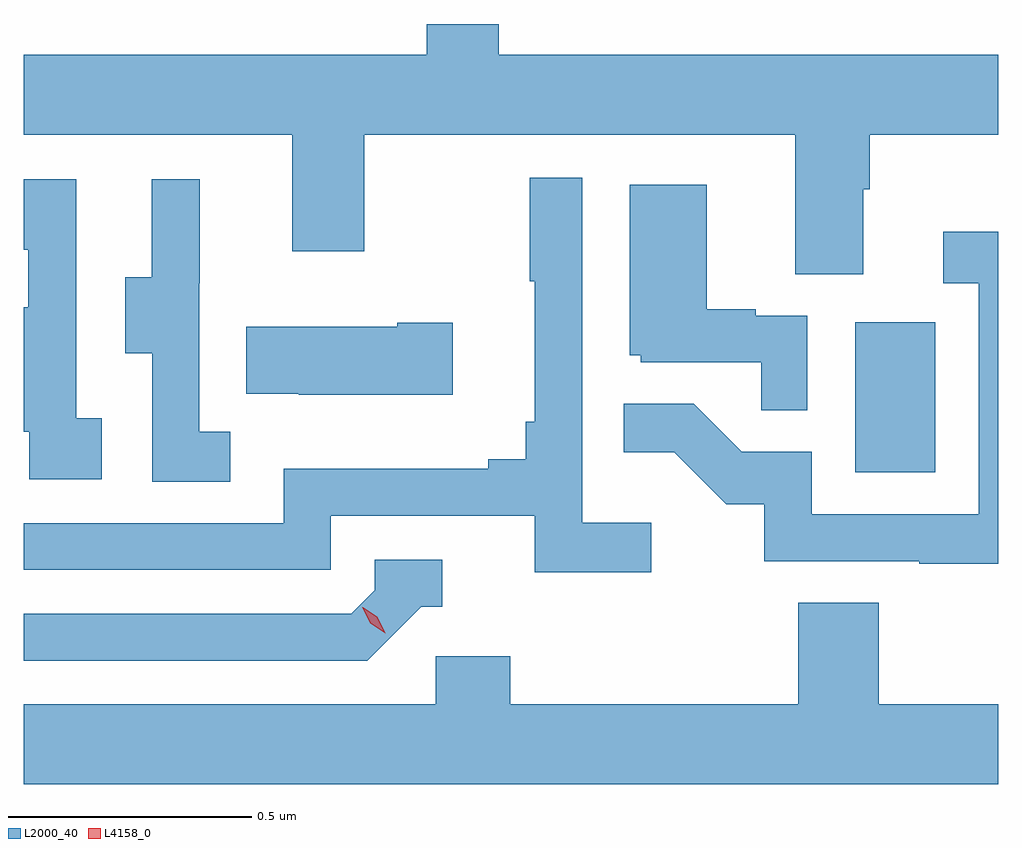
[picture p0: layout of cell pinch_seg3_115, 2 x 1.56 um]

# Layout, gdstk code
import gdstk
lib = gdstk.Library(unit=1e-6, precision=1e-09)
def R(c, l, rs):  # rectangles x0, y0, x1, y1
    for r in rs: c.add(gdstk.rectangle(r[:2], r[2:], *l))
def P(c, l, *ps):  # polygons
    for p in ps: c.add(gdstk.Polygon(p, *l))
L2000_40 = (2000, 40)
L4158_0 = (4158, 0)

pinch_seg3_115 = lib.new_cell('pinch_seg3_115')
R(pinch_seg3_115, L2000_40, [(1050.92,714.876,1051.084,715.183)])
P(pinch_seg3_115, L2000_40, [(1050.937,715.456),(1050.95,715.456),(1050.95,715.568),(1051.214,715.568),(1051.214,715.732),(1050.189,715.732),(1050.189,715.795),(1050.041,715.795),(1050.041,715.732),(1049.214,715.732),(1049.214,715.568),(1049.765,715.568),(1049.765,715.329),(1049.913,715.329),(1049.913,715.568),(1050.797,715.568),(1050.797,715.282),(1050.937,715.282)],
  [(1050.502,714.772),(1050.36,714.772),(1050.36,715.48),(1050.252,715.48),(1050.252,715.267),(1050.263,715.267),(1050.263,714.979),(1050.244,714.979),(1050.244,714.902),(1050.167,714.902),(1050.167,714.883),(1049.748,714.883),(1049.748,714.771),(1049.214,714.771),(1049.214,714.675),(1049.844,714.675),(1049.844,714.786),(1050.263,714.786),(1050.263,714.67),(1050.502,714.67)],
  [(1049.374,714.986),(1049.322,714.986),(1049.322,715.477),(1049.214,715.477),(1049.214,715.332),(1049.224,715.332),(1049.224,715.214),(1049.214,715.214),(1049.214,714.959),(1049.226,714.959),(1049.226,714.861),(1049.374,714.861)],
  [(1049.638,714.959),(1049.574,714.959),(1049.574,715.263),(1049.576,715.263),(1049.576,715.477),(1049.477,715.477),(1049.477,715.275),(1049.423,715.275),(1049.423,715.12),(1049.478,715.12),(1049.478,714.856),(1049.638,714.856)],
  [(1050.822,715.197),(1050.716,715.197),(1050.716,715.21),(1050.616,715.21),(1050.616,715.465),(1050.458,715.465),(1050.458,715.116),(1050.48,715.116),(1050.48,715.101),(1050.727,715.101),(1050.727,715.003),(1050.822,715.003)],
  [(1051.214,715.369),(1051.101,715.369),(1051.101,715.263),(1051.173,715.263),(1051.173,714.789),(1050.831,714.789),(1050.831,714.918),(1050.687,714.918),(1050.589,715.016),(1050.445,715.016),(1050.445,714.917),(1050.549,714.917),(1050.656,714.81),(1050.733,714.81),(1050.733,714.693),(1051.051,714.693),(1051.051,714.688),(1051.214,714.688)],
  [(1050.094,715.182),(1049.981,715.182),(1049.981,715.174),(1049.671,715.174),(1049.671,715.037),(1049.779,715.037),(1049.779,715.034),(1050.094,715.034)],
  [(1050.03,714.6),(1050.073,714.6),(1050.073,714.696),(1049.934,714.696),(1049.934,714.633),(1049.886,714.585),(1049.214,714.585),(1049.214,714.489),(1049.919,714.489)],
  [(1051.214,714.4),(1050.968,714.4),(1050.968,714.608),(1050.803,714.608),(1050.803,714.4),(1050.212,714.4),(1050.212,714.498),(1050.06,714.498),(1050.06,714.4),(1049.214,714.4),(1049.214,714.236),(1051.214,714.236)])
P(pinch_seg3_115, L4158_0, [(1049.956,714.545),(1049.925,714.566),(1049.909,714.599),(1049.909,714.599),(1049.91,714.599),(1049.94,714.579),(1049.956,714.546),(1049.956,714.545)])

lib.write_gds('pinch_seg3_115.gds')
